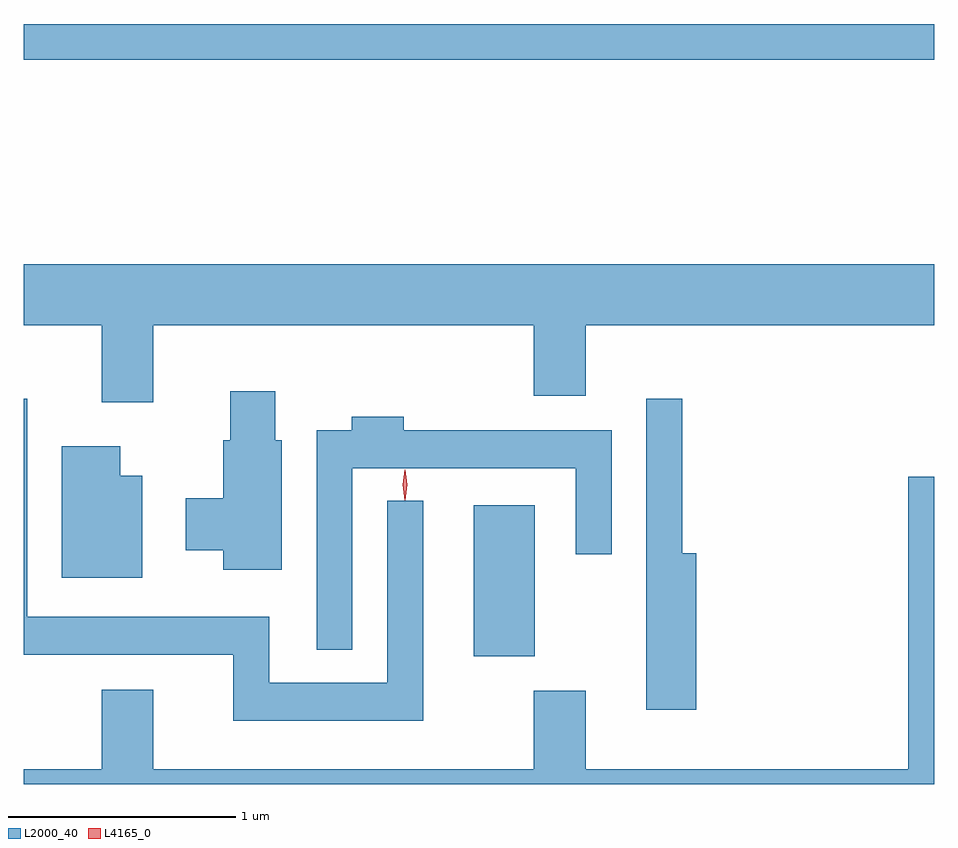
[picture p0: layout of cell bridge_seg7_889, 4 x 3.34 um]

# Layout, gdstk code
import gdstk
lib = gdstk.Library(unit=1e-6, precision=1e-09)
def R(c, l, rs):  # rectangles x0, y0, x1, y1
    for r in rs: c.add(gdstk.rectangle(r[:2], r[2:], *l))
def P(c, l, *ps):  # polygons
    for p in ps: c.add(gdstk.Polygon(p, *l))
L2000_40 = (2000, 40)
L4165_0 = (4165, 0)

bridge_seg7_889 = lib.new_cell('bridge_seg7_889')
R(bridge_seg7_889, L2000_40, [(426.896,1719.521,427.164,1720.184), (424.92,1722.141,428.92,1722.299)])
P(bridge_seg7_889, L2000_40, [(425.489,1720.976),(427.161,1720.976),(427.161,1720.666),(427.389,1720.666),(427.389,1720.976),(428.92,1720.976),(428.92,1721.244),(424.92,1721.244),(424.92,1720.976),(425.261,1720.976),(425.261,1720.636),(425.489,1720.636)],
  [(426.054,1720.469),(426.024,1720.469),(426.024,1720.684),(425.826,1720.684),(425.826,1720.469),(425.796,1720.469),(425.796,1720.214),(425.631,1720.214),(425.631,1719.986),(425.796,1719.986),(425.796,1719.901),(426.054,1719.901)],
  [(427.874,1719.974),(427.814,1719.974),(427.814,1720.653),(427.656,1720.653),(427.656,1719.286),(427.874,1719.286)],
  [(426.674,1720.203),(426.516,1720.203),(426.516,1719.404),(425.999,1719.404),(425.999,1719.694),(424.934,1719.694),(424.934,1720.653),(424.92,1720.653),(424.92,1719.526),(425.841,1719.526),(425.841,1719.236),(426.674,1719.236)],
  [(426.364,1720.346),(427.346,1720.346),(427.346,1719.968),(427.504,1719.968),(427.504,1720.514),(426.589,1720.514),(426.589,1720.574),(426.361,1720.574),(426.361,1720.514),(426.206,1720.514),(426.206,1719.548),(426.364,1719.548)],
  [(425.439,1720.314),(425.344,1720.314),(425.344,1720.444),(425.086,1720.444),(425.086,1719.866),(425.439,1719.866)],
  [(428.92,1720.309),(428.806,1720.309),(428.806,1719.024),(427.389,1719.024),(427.389,1719.369),(427.161,1719.369),(427.161,1719.024),(425.489,1719.024),(425.489,1719.374),(425.261,1719.374),(425.261,1719.024),(424.92,1719.024),(424.92,1718.959),(428.92,1718.959)])
P(bridge_seg7_889, L4165_0, [(426.594,1720.207),(426.585,1720.274),(426.594,1720.34),(426.595,1720.341),(426.595,1720.34),(426.605,1720.274),(426.595,1720.207),(426.595,1720.207)])

lib.write_gds('bridge_seg7_889.gds')
